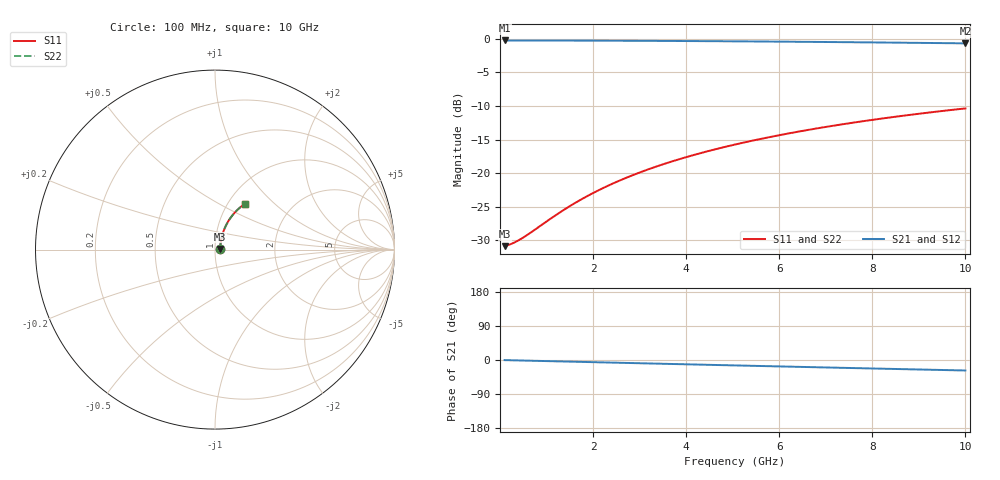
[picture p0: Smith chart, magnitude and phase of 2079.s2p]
# Hz S RI R 50.00
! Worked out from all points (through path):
!   100 points, 100 MHz to 10 GHz, reference 50 ohm
!   highest |S21| = -0.25 dB at 100 MHz (marker M1); lowest = -0.7 dB at 10 GHz (marker M2)
!   group delay of S21, straight-line fit = 7.7 ps
!   lowest |S11| = -30.9 dB at 100 MHz (marker M3), VSWR 1.06, Z = 52.9 + j0.329 ohm
!   |S11| at or under -10 dB: start of sweep to end of sweep
!   |S22| runs from -30.9 to -10.4 dB; largest |S21 - S12| = 0
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1e8  0.0284 0.0031  0.9716 -0.00484  0.9716 -0.00484  0.0284 0.0031
2e8  0.0287 0.0062  0.9713 -0.00968  0.9713 -0.00968  0.0287 0.0062
3e8  0.0289 0.0093  0.9711 -0.0145  0.9711 -0.0145  0.0289 0.0093
4e8  0.0291 0.0124  0.9709 -0.0194  0.9709 -0.0194  0.0291 0.0124
5e8  0.0293 0.0155  0.9706 -0.0242  0.9706 -0.0242  0.0293 0.0155
1.3e9  0.032 0.0401  0.9677 -0.0627  0.9677 -0.0627  0.032 0.0401
1.5e9  0.033 0.0462  0.9667 -0.0723  0.9667 -0.0723  0.033 0.0462
1.8e9  0.0346 0.0553  0.9649 -0.0867  0.9649 -0.0867  0.0346 0.0553
2.1e9  0.0365 0.0644  0.9628 -0.101  0.9628 -0.101  0.0365 0.0644
2.5e9  0.0394 0.0763  0.9596 -0.1199  0.9596 -0.1199  0.0394 0.0763
2.9e9  0.0428 0.0881  0.9559 -0.1387  0.9559 -0.1387  0.0428 0.0881
3.4e9  0.0477 0.1026  0.9505 -0.1619  0.9505 -0.1619  0.0477 0.1026
3.8e9  0.052 0.114  0.9457 -0.1803  0.9457 -0.1803  0.052 0.114
4.2e9  0.0568 0.1252  0.9404 -0.1985  0.9404 -0.1985  0.0568 0.1252
4.6e9  0.0621 0.1362  0.9346 -0.2164  0.9346 -0.2164  0.0621 0.1362
5.1e9  0.0691 0.1495  0.9268 -0.2385  0.9268 -0.2385  0.0691 0.1495
5.9e9  0.0817 0.1699  0.9128 -0.273  0.9128 -0.273  0.0817 0.1699
6.7e9  0.0957 0.1892  0.8972 -0.3063  0.8972 -0.3063  0.0957 0.1892
7.5e9  0.111 0.2071  0.8801 -0.3383  0.8801 -0.3383  0.111 0.2071
8.4e9  0.1296 0.2256  0.8593 -0.3727  0.8593 -0.3727  0.1296 0.2256
9.2e9  0.1471 0.2405  0.8395 -0.4017  0.8395 -0.4017  0.1471 0.2405
1e10  0.1655 0.2539  0.8187 -0.4293  0.8187 -0.4293  0.1655 0.2539
